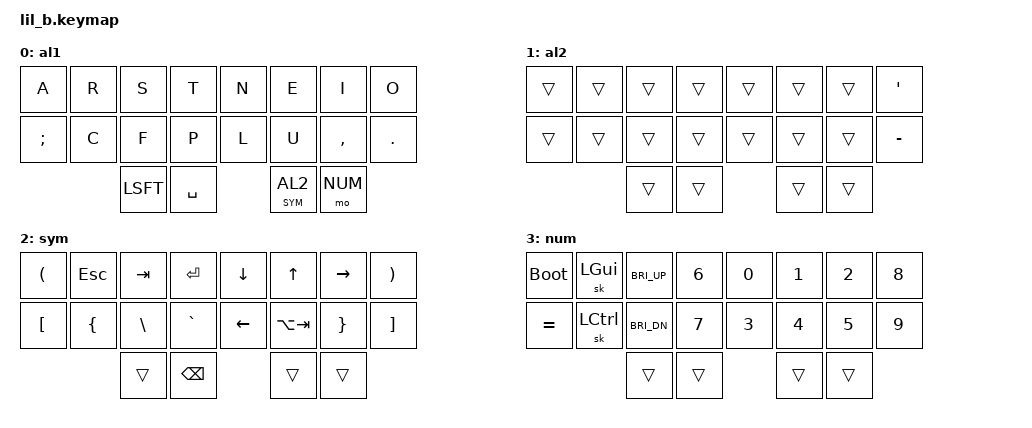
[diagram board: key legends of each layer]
#include <behaviors.dtsi>
#include <dt-bindings/zmk/keys.h>
//#include <dt-bindings/zmk/bt.h>
//#include <dt-bindings/zmk/outputs.h>

#define AL1 0
#define AL2 1
#define SYM 2
#define NUM 3
//#define FUN 4

#define BRIU &kp C_BRI_UP
#define BRID &kp C_BRI_DN
#define SWITCH &kp LA(TAB)
#define BOOT &bootloader

#define COMBO(NAME, BINDINGS, KEYPOS) \
combo_##NAME { \
    timeout-ms = <40>; \
    bindings = <BINDINGS>; \
    key-positions = <KEYPOS>; \
    layers = <AL1>; \
};

#define COMBOS_TOP(LTPR, LTRM, LTMI, BTII, RTIM, RTMR, RTRP) \
  COMBO(_ltpr, LTPR, 0 1) \
  COMBO(_ltrm, LTRM, 1 2) \
  COMBO(_ltmi, LTMI, 2 3) \
  COMBO(_btii, BTII, 3 4) \
  COMBO(_rtim, RTIM, 4 5) \
  COMBO(_rtmr, RTMR, 5 6) \
  COMBO(_rtrp, RTRP, 6 7)
#define COMBOS_BTM(LBPR, LBRM, LBMI, BBII, RBIM, RBMR, RBRP) \
  COMBO(_lbpr, LBPR, 8 9) \
  COMBO(_lbrm, LBRM, 9 10) \
  COMBO(_lbmi, LBMI, 10 11) \
  COMBO(_bbii, BBII, 11 12) \
  COMBO(_rbim, RBIM, 12 13) \
  COMBO(_rbmr, RBMR, 13 14) \
  COMBO(_rbrp, RBRP, 14 15)

/ {
    combos {
        compatible = "zmk,combos";
        COMBOS_TOP(&kp Q, &kp W, &kp D, &kp M, &kp H, &kp G, &kp Y)
        COMBOS_BTM(&kp Z, &kp X, &kp B, &kp V, &kp K, &kp J, &kp SLASH)
    };

    // layer1 on hold, layer2 sticky on tap
    behaviors {
        ms: behavior_mo_sticky {
            compatible = "zmk,behavior-hold-tap";
            #binding-cells = <2>;
            flavor = "balanced";
            tapping-term-ms = <140>;
            bindings = <&mo>, <&sl>;
        };
    };
};

//  ________________________________________________
// |   0 |   1 |   2 |   3 ||   4 |   5 |   6 |   7 |
// |   8 |   9 |  10 |  11 ||  12 |  13 |  14 |  15 |
// |     |    16     |  17 ||  18 |     19    |     |
// --------------------------------------------------

//       q     w     d      m     h     g     y
//       z     x     b      v     k     j     /
//  ________________________________________________
// |   a |   r |   s |   t ||   n |   e |   i |   o |
// |   ' |   c |   f |   p ||   l |   u |   , |   . |
// |     |           |     ||     |           |     |
// --------------------------------------------------
//  ________________________________________________
// |     |     |     |     ||     |     |     |   ; |
// |     |     |     |     ||     |     |     |   - |
// |     |    16     |  17 ||  18 |     19    |     |
// --------------------------------------------------
/ {
    keymap {
        compatible = "zmk,keymap";

        al1 {
            bindings = <
                &kp A      &kp R      &kp S      &kp T      &kp N      &kp E      &kp I      &kp O
                &kp SEMI   &kp C      &kp F      &kp P      &kp L      &kp U      &kp COMMA  &kp DOT
                                 &kp LSFT        &kp SPACE  &ms SYM AL2      &mo NUM
            >;
        };
        al2 {
            bindings = <
                &trans     &trans     &trans     &trans     &trans     &trans     &trans     &kp SQT
                &trans     &trans     &trans     &trans     &trans     &trans     &trans     &kp MINUS
                                 &trans          &trans     &trans           &trans
            >;
        };
        sym {
            bindings = <
                &kp LPAR   &kp ESC    &kp TAB    &kp RET    &kp DOWN   &kp UP     &kp RIGHT  &kp RPAR
                &kp LBKT   &kp LBRC   &kp BSLH   &kp GRAVE  &kp LEFT   SWITCH     &kp RBRC   &kp RBKT
                                 &trans          &kp BSPC   &trans           &trans
            >;
        };
        num {
            bindings = <
                BOOT       &sk LGUI   BRIU       &kp N6     &kp N0     &kp N1     &kp N2     &kp N8
                &kp EQUAL  &sk LCTRL  BRID       &kp N7     &kp N3     &kp N4     &kp N5     &kp N9
                                 &trans          &trans     &trans           &trans
            >;
        };
    };
};
